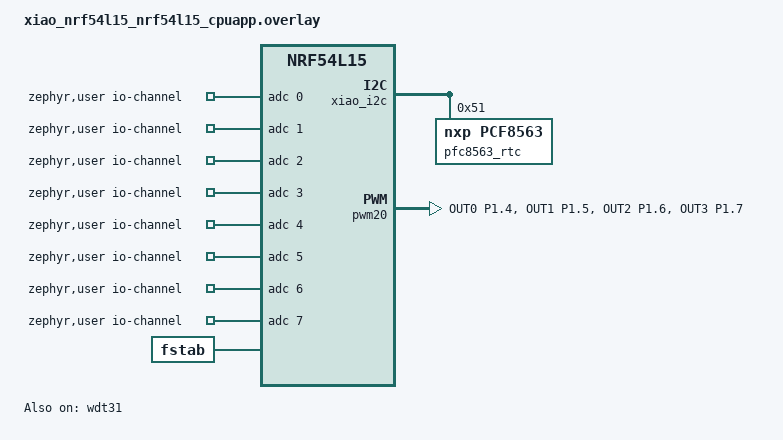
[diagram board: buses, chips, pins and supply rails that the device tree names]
/*
 * Copyright (c) 2025 Seeed Technology Co., Ltd.
 *
 * SPDX-License-Identifier: Apache-2.0
 */

/ {
    zephyr,user {
        io-channels = <&adc 0>, <&adc 1>, <&adc 2>, <&adc 3>, <&adc 4>, <&adc 5>, <&adc 6>, <&adc 7>;
    };

};

/ {
	chosen {
		zephyr,rtc = &pfc8563_rtc;
	};
    
	aliases {
		rtc = &pfc8563_rtc;
	};
};

&xiao_i2c {
	status = "okay";

	pfc8563_rtc: pfc8563@51 {
		compatible = "nxp,pcf8563";
		reg = <0x51>;
		status = "okay";
	};
};


&pwm20 {
    status = "okay";
	pinctrl-0 = <&pwm20_default>;
	pinctrl-1 = <&pwm20_sleep>;
	pinctrl-names = "default", "sleep";
};

&pinctrl {
    pwm20_default: pwm20_default {
        group1 {
            psels = <NRF_PSEL(PWM_OUT0, 1, 4)>;
        };
        group2 {
            psels = <NRF_PSEL(PWM_OUT1, 1, 5)>;
        };
		group3 {
            psels = <NRF_PSEL(PWM_OUT2, 1, 6)>;
        };
        group4 {
            psels = <NRF_PSEL(PWM_OUT3, 1, 7)>;
		};
    };

    pwm20_sleep: pwm20_sleep {
        group1 {
            psels = <NRF_PSEL(PWM_OUT0, 1, 4)>;
            low-power-enable;
        };
        group2 {
            psels = <NRF_PSEL(PWM_OUT1, 1, 5)>;
            low-power-enable;
        };
		group3 {
            psels = <NRF_PSEL(PWM_OUT2, 1, 6)>;
            low-power-enable;
        };
        group4 {
            psels = <NRF_PSEL(PWM_OUT3, 1, 7)>;
            low-power-enable;
		};
    };
};

/ {
	fstab {
		compatible = "zephyr,fstab";
		lfs1: lfs1 {
			compatible = "zephyr,fstab,littlefs";
			mount-point = "/flash";
			partition = <&storage_partition>;
			automount;
			read-size = <32>;
			prog-size = <32>;
			cache-size = <128>;
			lookahead-size = <64>;
			block-cycles = <2048>;
		};
	};
};

&wdt31 {
	status = "okay";
};

